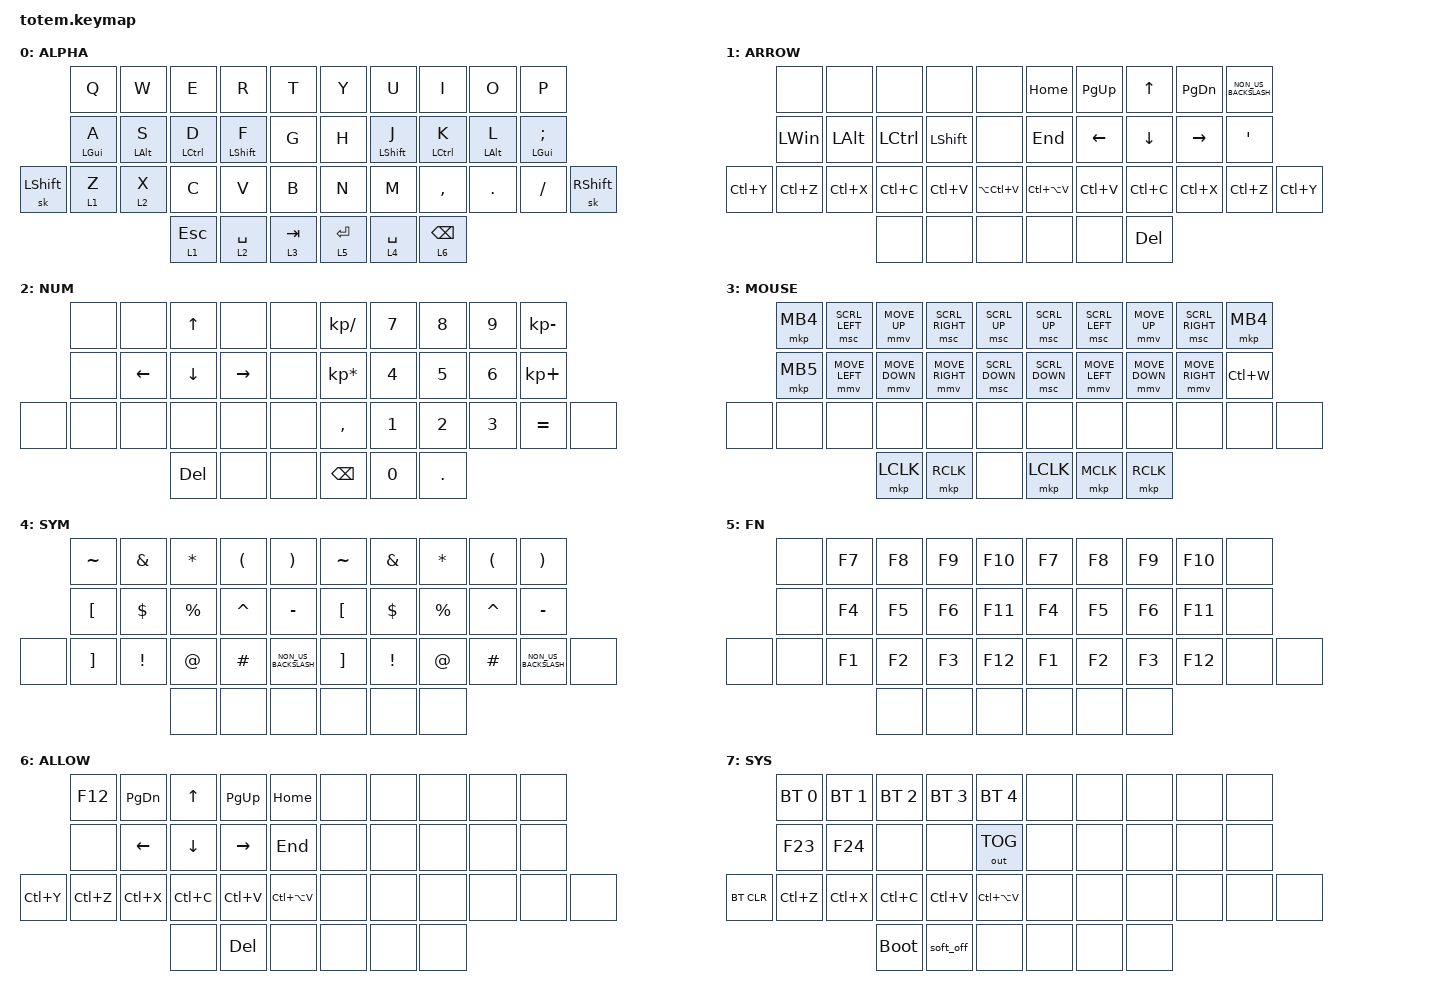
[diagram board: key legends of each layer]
//
//                                                        ▀▀▀▀▀     ▀▀▀▀▀          ▀▀█▀▀
//                                                        ▄▀▀▀▄  ▄  ▄▀▀▀▄  ▄  ▄▀▀▀▄  █  ▄▀▀▀▄
//                                                        █   █  █  █   █  █  █   █  █  █   █
//                                                         ▀▀▀   █   ▀▀▀   █   ▀▀▀   ▀   ▀▀▀
//                                                               █      ▄▄▄█▄▄▄    █   █  
//                                                               ▀      █  █  █     █▄█
//                                                             ▀▀▀▀▀    █  █  █      ▀
//                                                                      ▀  ▀  ▀
//
// ▄▄▄▄▄▄▄▄▄▄▄▄▄▄▄▄▄▄▄▄▄▄▄▄▄▄▄▄▄▄▄▄▄▄▄▄▄▄▄▄▄▄▄▄▄▄▄▄▄▄▄▄▄▄▄▄▄▄▄▄▄▄▄▄▄▄▄▄▄▄▄▄▄▄▄▄▄▄▄▄▄▄▄▄▄▄▄▄▄▄▄▄▄▄▄▄▄▄▄▄▄▄▄▄▄▄▄▄▄▄▄▄▄▄▄▄▄▄▄▄▄▄▄▄▄▄▄▄▄▄▄▄▄▄▄▄▄▄▄▄▄▄▄▄▄▄▄▄▄

#define ZMK_POINTING_DEFAULT_MOVE_VAL 1200  // 600
#define ZMK_POINTING_DEFAULT_SCRL_VAL 25   // 10

#include <input/processors.dtsi>
#include <zephyr/dt-bindings/input/input-event-codes.h>
#include <behaviors.dtsi>
#include <dt-bindings/zmk/bt.h>
#include <dt-bindings/zmk/keys.h>
#include <dt-bindings/zmk/outputs.h>
#include <dt-bindings/zmk/pointing.h>

#define ALPHA 0
#define ARROW 1
#define NUM  2
#define MOUSE  3
#define SYM 4
#define FN 5
#define ALLOW 6
#define SYS 7

&mt {
    quick-tap-ms = <100>;
    global-quick-tap;
    flavor = "tap-preferred";
    tapping-term-ms = <170>;
};

&mmv_input_listener { input-processors = <&zip_xy_scaler 2 1>; };

&msc_input_listener { input-processors = <&zip_scroll_scaler 2 1>; };

&msc {
    time-to-max-speed-ms = <100>;       // 300
    delay-ms = <0>;                   // 0
};

&mmv {
    time-to-max-speed-ms = <100>;
    acceleration-exponent = <1>;
    trigger-period-ms = <6>;
    delay-ms = <0>;
};

/ {
    combos {
        compatible = "zmk,combos";

        SCREEN_ROTATE {
            timeout-ms = <50>;
            key-positions = <9 19 30>;
            bindings = <&SCREEN_ROTATE>;
            slow-release;
        };

        LSYSLD {
            timeout-ms = <50>;
            key-positions = <34 4>;
            bindings = <&tog 7>;
        };

        BT0 {
            bindings = <&out OUT_TOG>;
            key-positions = <5 35>;
        };

        BT1 {
            bindings = <&bt BT_SEL 0>;
            key-positions = <6 35>;
        };

        BT2 {
            bindings = <&bt BT_SEL 1>;
            key-positions = <7 35>;
        };

        BT3 {
            bindings = <&bt BT_SEL 2>;
            key-positions = <8 35>;
        };

        BT4 {
            bindings = <&bt BT_SEL 3>;
            key-positions = <9 35>;
        };

        HANGUL {
            bindings = <&kp RIGHT_ALT>;
            key-positions = <27 26>;
        };

        HANJA {
            bindings = <&kp RCTRL>;
            key-positions = <28 27>;
        };

        TASKMGR {
            bindings = <&kp LC(LS(ESCAPE))>;
            key-positions = <10 21 0>;
        };

        COMBO_F2 {
            bindings = <&kp F2>;
            key-positions = <0 1>;
        };

        ALFTF4 {
            bindings = <&kp LA(F4)>;
            key-positions = <1 2>;
        };

        COMBO_F5 {
            bindings = <&kp F5>;
            key-positions = <2 3>;
        };

        COMBO_MINUS {
            bindings = <&kp MINUS>;
            key-positions = <5 15>;
        };

        COMBO_UNDERSOCRE {
            bindings = <&kp UNDER>;
            key-positions = <6 16>;
        };

        COMBO_EQUAL {
            bindings = <&kp EQUAL>;
            key-positions = <17 7>;
        };

        COMBO_PLUS {
            bindings = <&kp PLUS>;
            key-positions = <18 8>;
        };

        COMBO_LPAR {
            bindings = <&kp LEFT_PARENTHESIS>;
            key-positions = <3 13>;
        };

        COMBO_RPAR {
            bindings = <&kp RIGHT_PARENTHESIS>;
            key-positions = <4 14>;
        };

        COMBO_LBKT {
            bindings = <&kp LEFT_BRACKET>;
            key-positions = <11 1>;
        };

        COMBO_RBKT {
            bindings = <&kp RIGHT_BRACKET>;
            key-positions = <2 12>;
        };

        COMBO_FIND {
            bindings = <&kp LC(F)>;
            key-positions = <12 13 14>;
        };

        COMBO_SAVE {
            bindings = <&kp LC(S)>;
            key-positions = <11 12>;
        };

        COMBO_TABCLOSE {
            bindings = <&kp LC(W)>;
            key-positions = <12 1>;
        };

        COMBO_SCREENSHOT {
            bindings = <&kp LG(LS(S))>;
            key-positions = <10 11 13>;
        };

        COMBO_CAPSLOCK {
            bindings = <&kp CAPSLOCK>;
            key-positions = <28 29>;
        };

        BTCLR {
            bindings = <&bt BT_CLR>;
            key-positions = <19 35>;
        };

        FLUENT {
            bindings = <&kp LC(LA(LS(SPACE)))>;
            key-positions = <11 12 13 33>;
        };

        FS_SC_1 {
            bindings = <&kp LC(LA(LS(B)))>;
            key-positions = <25 24>;
        };

        WINMINIMIZE {
            bindings = <&WINMINIMIZE>;
            key-positions = <22 23>;
        };

        FS_SC_2 {
            bindings = <&kp LC(LA(LS(B)))>;
            key-positions = <5 6>;
        };

        FS_WIN_1 {
            bindings = <&kp LC(LA(LS(T)))>;
            key-positions = <23 24>;
        };

        FS_WIN_2 {
            bindings = <&kp LC(LA(LS(T)))>;
            key-positions = <6 7>;
        };
    };

    HOME_ROW_R: HOME_ROW_R {
        compatible = "zmk,behavior-hold-tap";
        label = "HOME_ROW_R";
        bindings = <&kp>, <&kp>;

        #binding-cells = <2>;
        flavor = "tap-preferred";
        tapping-term-ms = <185>;
    };

    CTRL_CAPS: CTRL_CAPS {
        compatible = "zmk,behavior-tap-dance";
        label = "CTRL_CAPS";
        #binding-cells = <0>;
        bindings = <&kp LCTRL>, <&kp CAPSLOCK>;

        tapping-term-ms = <250>;
    };

    TIMELESS_HMR_L: TIMELESS_HMR_L {
        compatible = "zmk,behavior-hold-tap";
        label = "TIMELESS_HMR_L";
        bindings = <&kp>, <&kp>;

        #binding-cells = <2>;
        tapping-term-ms = <280>;
        quick-tap-ms = <175>;
        require-prior-idle-ms = <125>;
        flavor = "balanced";
        hold-trigger-on-release;
    };

    TIMELESS_HMR_R: TIMELESS_HMR_R {
        compatible = "zmk,behavior-hold-tap";
        label = "TIMELESS_HMR_R";
        bindings = <&kp>, <&kp>;

        #binding-cells = <2>;
        tapping-term-ms = <280>;
        quick-tap-ms = <175>;
        require-prior-idle-ms = <125>;
        flavor = "balanced";
        hold-trigger-on-release;
    };

    HMR_LSHIFT: HMR_LSHIFT {
        compatible = "zmk,behavior-hold-tap";
        label = "HMR_LSHIFT";
        bindings = <&kp>, <&kp>;

        #binding-cells = <2>;
        tapping-term-ms = <170>;
        quick-tap-ms = <0>;
        require-prior-idle-ms = <(-1)>;
        flavor = "balanced";
    };

    HMR_RSHIFT: HMR_RSHIFT {
        compatible = "zmk,behavior-hold-tap";
        label = "HMR_RSHIFT";
        bindings = <&kp>, <&kp>;

        #binding-cells = <2>;
        tapping-term-ms = <170>;
        quick-tap-ms = <0>;
        require-prior-idle-ms = <(-1)>;
        flavor = "balanced";
    };

    HOME_ROW_L: HOME_ROW_L {
        compatible = "zmk,behavior-hold-tap";
        label = "HOME_ROW_L";
        bindings = <&kp>, <&kp>;

        #binding-cells = <2>;
        flavor = "tap-preferred";
        tapping-term-ms = <185>;
    };

    QLT: QLT {
        compatible = "zmk,behavior-hold-tap";
        label = "QLT";
        bindings = <&mo>, <&kp>;

        #binding-cells = <2>;
        tapping-term-ms = <220>;
        quick-tap-ms = <200>;
        flavor = "balanced";
        retro-tap;
        require-prior-idle-ms = <125>;
    };

    MLT: MLT {
        compatible = "zmk,behavior-hold-tap";
        label = "MLT";
        bindings = <&mo>, <&kp>;

        #binding-cells = <2>;
        tapping-term-ms = <185>;
        hold-while-undecided;
    };

    macros {
        WINMINIMIZE: winminimize {
            compatible = "zmk,behavior-macro";
            #binding-cells = <0>;
            bindings = <&kp LA(SPACE) &kp N>;
            label = "WINMINIMIZE";
        };
    };

    behaviors {
        SCREEN_ROTATE: screen_rotate {
            compatible = "zmk,behavior-screen-rotate";
            #binding-cells = <0>;
            label = "SCREEN_ROTATE";
            display-name = "Screen Rotate";
        };
    };

    keymap {
        compatible = "zmk,keymap";

        ALPHA_layer {
            label = "ALPHA";
            bindings = <
           &kp Q                   &kp W                   &kp E                &kp R                     &kp T        &kp Y         &kp U                     &kp I                &kp O                   &kp P
           &HOME_ROW_L LEFT_GUI A  &HOME_ROW_L LEFT_ALT S  &HOME_ROW_L LCTRL D  &HOME_ROW_L LEFT_SHIFT F  &kp G        &kp H         &HOME_ROW_R LEFT_SHIFT J  &HOME_ROW_R LCTRL K  &HOME_ROW_R LEFT_ALT L  &HOME_ROW_R LEFT_GUI SEMI
&sk LSHFT  &QLT 1 Z                &QLT 2 X                &kp C                &kp V                     &kp B        &kp N         &kp M                     &kp COMMA            &kp DOT                 &kp FSLH                   &sk RSHIFT
                                                           &lt 1 ESCAPE         &lt 2 SPACE               &lt 3 TAB    &QLT 5 ENTER  &QLT 4 SPACE              &QLT 6 BACKSPACE
            >;
        };

        ARROW_layer {
            label = "ARROW";
            bindings = <
           &none         &none         &none      &none           &none            &kp HOME       &kp PAGE_UP  &kp UP      &kp PAGE_DOWN  &kp NON_US_BACKSLASH
           &kp LEFT_WIN  &kp LEFT_ALT  &kp LCTRL  &kp LEFT_SHIFT  &none            &kp END        &kp LEFT     &kp DOWN    &kp RIGHT      &kp APOSTROPHE
&kp LC(Y)  &kp LC(Z)     &kp LC(X)     &kp LC(C)  &kp LC(V)       &kp LA(LC(V))    &kp LC(LA(V))  &kp LC(V)    &kp LC(C)   &kp LC(X)      &kp LC(Z)             &kp LC(Y)
                                       &none      &none           &none            &none          &none        &kp DELETE
            >;
        };

        NUM_layer {
            label = "NUM";
            bindings = <
       &none  &none     &kp UP      &none      &none    &kp KP_DIVIDE    &kp N7        &kp N8        &kp N9        &kp KP_MINUS
       &none  &kp LEFT  &kp DOWN    &kp RIGHT  &none    &kp KP_ASTERISK  &kp NUMBER_4  &kp N5        &kp NUMBER_6  &kp KP_PLUS
&none  &none  &none     &none       &none      &none    &kp COMMA        &kp NUMBER_1  &kp NUMBER_2  &kp NUMBER_3  &kp EQUAL     &none
                        &kp DELETE  &none      &none    &kp BACKSPACE    &kp N0        &kp DOT
            >;
        };

        MOUSE_layer {
            label = "MOUSE";
            bindings = <
       &mkp MB4  &msc SCRL_LEFT  &mmv MOVE_UP    &msc SCRL_RIGHT  &msc SCRL_UP      &msc SCRL_UP    &msc SCRL_LEFT  &mmv MOVE_UP    &msc SCRL_RIGHT  &mkp MB4
       &mkp MB5  &mmv MOVE_LEFT  &mmv MOVE_DOWN  &mmv MOVE_RIGHT  &msc SCRL_DOWN    &msc SCRL_DOWN  &mmv MOVE_LEFT  &mmv MOVE_DOWN  &mmv MOVE_RIGHT  &kp LC(W)
&none  &none     &none           &none           &none            &none             &none           &none           &none           &none            &none      &none
                                 &mkp LCLK       &mkp RCLK        &none             &mkp LCLK       &mkp MCLK       &mkp RCLK
            >;
        };

        SYM_layer {
            label = "SYM";
            bindings = <
       &kp TILDE          &kp AMPERSAND    &kp ASTERISK  &kp LEFT_PARENTHESIS  &kp RIGHT_PARENTHESIS    &kp TILDE          &kp AMPERSAND    &kp ASTERISK  &kp LEFT_PARENTHESIS  &kp RIGHT_PARENTHESIS
       &kp LEFT_BRACKET   &kp DOLLAR       &kp PERCENT   &kp CARET             &kp MINUS                &kp LEFT_BRACKET   &kp DOLLAR       &kp PERCENT   &kp CARET             &kp MINUS
&none  &kp RIGHT_BRACKET  &kp EXCLAMATION  &kp AT_SIGN   &kp HASH              &kp NON_US_BACKSLASH     &kp RIGHT_BRACKET  &kp EXCLAMATION  &kp AT_SIGN   &kp HASH              &kp NON_US_BACKSLASH   &none
                                           &none         &none                 &none                    &none              &none            &none
            >;
        };

        FN_layer {
            label = "FN";
            bindings = <
       &none  &kp F7  &kp F8  &kp F9  &kp F10    &kp F7  &kp F8  &kp F9  &kp F10  &none
       &none  &kp F4  &kp F5  &kp F6  &kp F11    &kp F4  &kp F5  &kp F6  &kp F11  &none
&none  &none  &kp F1  &kp F2  &kp F3  &kp F12    &kp F1  &kp F2  &kp F3  &kp F12  &none  &none
                      &none   &none   &none      &none   &none   &none
            >;
        };

        ALLOW_layer {
            label = "ALLOW";
            bindings = <
           &kp F12    &kp PAGE_DOWN  &kp UP_ARROW  &kp PAGE_UP  &kp HOME         &none  &none  &none  &none  &none
           &none      &kp LEFT       &kp DOWN      &kp RIGHT    &kp END          &none  &none  &none  &none  &none
&kp LC(Y)  &kp LC(Z)  &kp LC(X)      &kp LC(C)     &kp LC(V)    &kp LC(LA(V))    &none  &none  &none  &none  &none  &none
                                     &none         &kp DELETE   &none            &none  &none  &none
            >;
        };

        SYS_layer {
            label = "SYS";
            bindings = <
            &bt BT_SEL 0  &bt BT_SEL 1  &bt BT_SEL 2  &bt BT_SEL 3  &bt BT_SEL 4     &none  &none  &none  &none  &none
            &kp F23       &kp F24       &none         &none         &out OUT_TOG     &none  &none  &none  &none  &none
&bt BT_CLR  &kp LC(Z)     &kp LC(X)     &kp LC(C)     &kp LC(V)     &kp LC(LA(V))    &none  &none  &none  &none  &none  &none
                                        &bootloader   &soft_off     &none            &none  &none  &none
            >;
        };
    };
};
